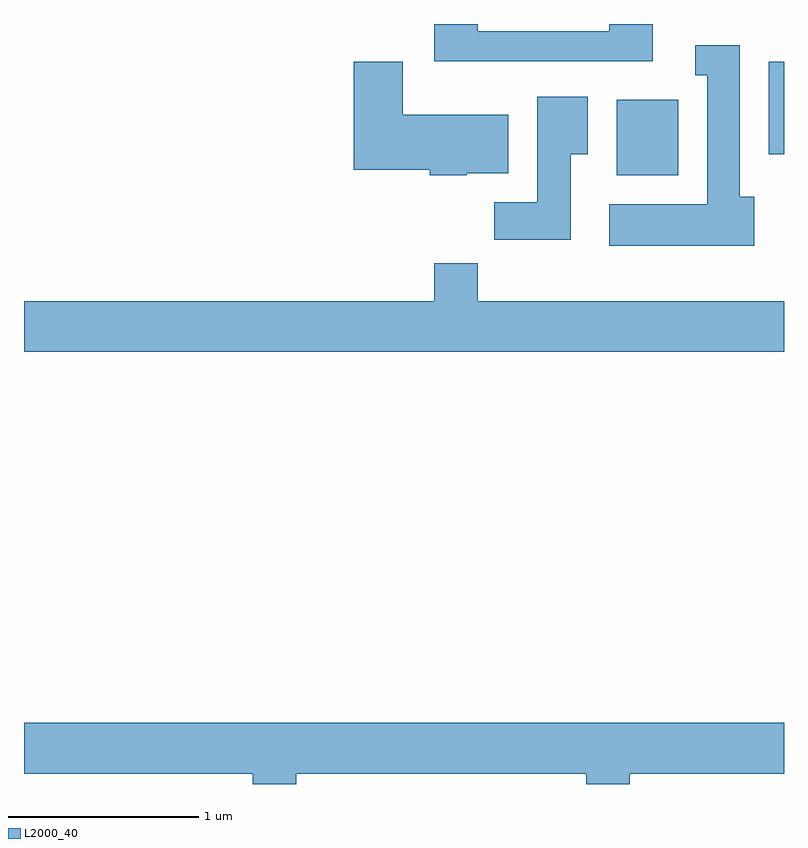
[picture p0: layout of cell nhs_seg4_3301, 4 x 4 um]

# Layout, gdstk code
import gdstk
lib = gdstk.Library(unit=1e-6, precision=1e-09)
def R(c, l, rs):  # rectangles x0, y0, x1, y1
    for r in rs: c.add(gdstk.rectangle(r[:2], r[2:], *l))
def P(c, l, *ps):  # polygons
    for p in ps: c.add(gdstk.Polygon(p, *l))
L2000_40 = (2000, 40)

nhs_seg4_3301 = lib.new_cell('nhs_seg4_3301')
R(nhs_seg4_3301, L2000_40, [(284.731,1331.186,285.054,1331.584), (285.531,1331.296,285.611,1331.784)])
P(nhs_seg4_3301, L2000_40, [(284.919,1331.982),(284.691,1331.982),(284.691,1331.944),(283.999,1331.944),(283.999,1331.982),(283.771,1331.982),(283.771,1331.786),(284.919,1331.786)],
  [(285.454,1331.074),(285.379,1331.074),(285.379,1331.869),(285.143,1331.869),(285.143,1331.711),(285.206,1331.711),(285.206,1331.034),(284.691,1331.034),(284.691,1330.816),(285.454,1330.816)],
  [(283.94,1331.196),(284.159,1331.196),(284.159,1331.504),(283.604,1331.504),(283.604,1331.784),(283.346,1331.784),(283.346,1331.216),(283.746,1331.216),(283.746,1331.186),(283.94,1331.186)],
  [(284.489,1331.296),(284.579,1331.296),(284.579,1331.599),(284.311,1331.599),(284.311,1331.044),(284.086,1331.044),(284.086,1330.846),(284.489,1330.846)],
  [(285.611,1330.524),(283.999,1330.524),(283.999,1330.724),(283.771,1330.724),(283.771,1330.524),(281.611,1330.524),(281.611,1330.256),(285.611,1330.256)],
  [(283.044,1328.036),(284.571,1328.036),(284.571,1327.982),(284.799,1327.982),(284.799,1328.036),(285.611,1328.036),(285.611,1328.304),(281.611,1328.304),(281.611,1328.036),(282.816,1328.036),(282.816,1327.982),(283.044,1327.982)])

lib.write_gds('nhs_seg4_3301.gds')
